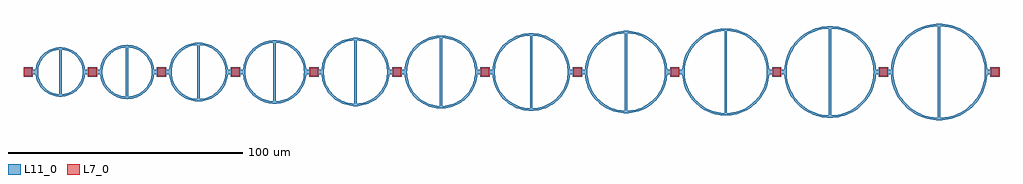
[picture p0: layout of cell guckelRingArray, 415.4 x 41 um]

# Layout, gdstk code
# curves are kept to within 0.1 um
import gdstk
lib = gdstk.Library(unit=1e-6, precision=1e-09)
def R(c, l, rs):  # rectangles x0, y0, x1, y1
    for r in rs: c.add(gdstk.rectangle(r[:2], r[2:], *l))
def P(c, l, *ps):  # polygons
    for p in ps: c.add(gdstk.Polygon(p, *l))
L7_0 = (7, 0)
L11_0 = (11, 0)

guckelringarray = lib.new_cell('guckelRingArray')
R(guckelringarray, L7_0, [(-15.5,-1.8,-11.9,1.8), (11.9,-1.8,15.5,1.8), (11.9,-1.8,15.5,1.8), (41.3,-1.8,44.9,1.8), (41.3,-1.8,44.9,1.8), (72.7,-1.8,76.3,1.8), (72.7,-1.8,76.3,1.8), (106.1,-1.8,109.7,1.8), (106.1,-1.8,109.7,1.8), (141.5,-1.8,145.1,1.8), (141.5,-1.8,145.1,1.8), (178.9,-1.8,182.5,1.8), (178.9,-1.8,182.5,1.8), (218.3,-1.8,221.9,1.8), (218.3,-1.8,221.9,1.8), (259.7,-1.8,263.3,1.8), (259.7,-1.8,263.3,1.8), (303.1,-1.8,306.7,1.8), (303.1,-1.8,306.7,1.8), (348.5,-1.8,352.1,1.8), (348.5,-1.8,352.1,1.8), (395.9,-1.8,399.5,1.8)])
P(guckelringarray, L11_0, [(0,-10.5),(-2.611,-10.17),(-4.503,-9.484),(1.191,-9.425),(2.936,-9.035),(4.577,-8.325),(6.056,-7.32),(7.32,-6.056),(8.325,-4.577),(9.202,-2.363),(9.481,-0.597),(9.425,1.191),(9.202,2.363),(8.596,4.045),(7.686,5.584),(6.925,6.503),(6.056,7.32),(4.577,8.325),(2.363,9.202),(0.5,9.484),(0.5,-9.484),(-0.5,-9.484),(-0.5,9.484),(-2.363,9.202),(-4.045,8.596),(-5.584,7.686),(-6.925,6.503),(-8.021,5.09),(-8.833,3.497),(-9.332,1.78),(-9.5,0),(-9.332,-1.78),(-8.833,-3.497),(-8.021,-5.09),(-6.925,-6.503),(-5.584,-7.686),(-4.045,-8.596),(-2.363,-9.202),(-0.5,-9.484),(-4.503,-9.484),(-6.693,-8.09),(-8.09,-6.693),(-9.201,-5.058),(-9.986,-3.245),(-10.447,-1),(-11.7,-1),(-11.7,-2),(-15.7,-2),(-15.7,2),(-11.7,2),(-11.7,1),(-10.447,1),(-10.17,2.611),(-9.501,4.471),(-8.495,6.172),(-7.188,7.654),(-5.626,8.865),(-3.865,9.763),(-1.968,10.314),(0,10.5),(1.968,10.314),(3.865,9.763),(5.626,8.865),(7.188,7.654),(8.495,6.172),(9.501,4.471),(10.17,2.611),(10.447,1),(11.7,1),(11.7,2),(15.7,2),(15.7,-2),(11.7,-2),(11.7,-1),(10.447,-1),(10.17,-2.611),(9.501,-4.471),(8.495,-6.172),(7.188,-7.654),(5.626,-8.865),(3.865,-9.763),(1.968,-10.314)],
  [(28.4,-11.5),(26.245,-11.296),(23.686,-10.484),(29.716,-10.417),(31.645,-9.986),(33.458,-9.201),(35.588,-7.654),(36.895,-6.172),(37.901,-4.471),(38.57,-2.611),(38.879,-0.659),(38.817,1.316),(38.386,3.245),(37.901,4.471),(36.895,6.172),(36.054,7.188),(34.572,8.495),(33.458,9.201),(31.011,10.17),(28.9,10.484),(28.9,-10.484),(27.9,-10.484),(27.9,10.484),(25.789,10.17),(23.929,9.501),(22.228,8.495),(20.746,7.188),(19.535,5.626),(18.637,3.865),(18.086,1.968),(17.9,0),(18.086,-1.968),(18.637,-3.865),(19.535,-5.626),(20.746,-7.188),(22.228,-8.495),(23.929,-9.501),(25.789,-10.17),(27.9,-10.484),(23.686,-10.484),(22.238,-9.71),(21.07,-8.861),(19.539,-7.33),(18.322,-5.54),(17.463,-3.554),(16.949,-1),(15.7,-1),(15.7,-2),(11.7,-2),(11.7,2),(15.7,2),(15.7,1),(16.949,1),(17.261,2.86),(17.994,4.896),(19.096,6.76),(20.528,8.383),(22.238,9.71),(24.167,10.692),(26.245,11.296),(28.4,11.5),(30.555,11.296),(32.633,10.692),(34.562,9.71),(36.272,8.383),(37.704,6.76),(38.806,4.896),(39.539,2.86),(39.851,1),(41.1,1),(41.1,2),(45.1,2),(45.1,-2),(41.1,-2),(41.1,-1),(39.851,-1),(39.539,-2.86),(38.806,-4.896),(37.704,-6.76),(36.272,-8.383),(34.562,-9.71),(32.633,-10.692),(30.555,-11.296)],
  [(58.8,-12.5),(56.458,-12.279),(53.88,-11.484),(60.241,-11.409),(62.354,-10.937),(64.34,-10.078),(66.13,-8.861),(68.104,-6.76),(69.206,-4.896),(69.939,-2.86),(70.277,-0.722),(70.277,0.722),(69.939,2.86),(69.492,4.233),(68.878,5.54),(67.661,7.33),(66.13,8.861),(64.962,9.71),(62.354,10.937),(60.955,11.296),(59.3,11.484),(59.3,-11.484),(58.3,-11.484),(58.3,11.484),(55.94,11.139),(53.904,10.406),(52.04,9.304),(50.417,7.872),(49.09,6.162),(48.108,4.233),(47.504,2.155),(47.3,0),(47.504,-2.155),(48.108,-4.233),(49.09,-6.162),(50.417,-7.872),(52.04,-9.304),(53.904,-10.406),(55.94,-11.139),(58.3,-11.484),(53.88,-11.484),(52.102,-10.554),(50.832,-9.631),(49.169,-7.968),(47.846,-6.022),(46.912,-3.863),(46.345,-1),(45.1,-1),(45.1,-2),(41.1,-2),(41.1,2),(45.1,2),(45.1,1),(46.345,1),(46.693,3.109),(47.49,5.322),(48.687,7.347),(50.243,9.112),(52.102,10.554),(54.198,11.622),(56.458,12.279),(58.8,12.5),(61.142,12.279),(63.402,11.622),(65.498,10.554),(67.357,9.112),(68.913,7.347),(70.11,5.322),(70.907,3.109),(71.255,1),(72.5,1),(72.5,2),(76.5,2),(76.5,-2),(72.5,-2),(72.5,-1),(71.255,-1),(70.907,-3.109),(70.11,-5.322),(68.913,-7.347),(67.357,-9.112),(65.498,-10.554),(63.402,-11.622),(61.142,-12.279)],
  [(91.2,-13.5),(88.67,-13.261),(86.074,-12.484),(92.767,-12.401),(95.063,-11.888),(97.222,-10.954),(99.757,-9.112),(101.313,-7.347),(102.51,-5.322),(103.307,-3.109),(103.675,-0.785),(103.675,0.785),(103.479,2.342),(102.822,4.602),(102.154,6.022),(100.831,7.968),(99.757,9.112),(97.898,10.554),(95.063,11.888),(93.542,12.279),(91.7,12.484),(91.7,-12.484),(90.7,-12.484),(90.7,12.484),(88.091,12.107),(85.878,11.31),(83.853,10.113),(82.088,8.557),(80.646,6.698),(79.578,4.602),(78.921,2.342),(78.7,0),(78.921,-2.342),(79.578,-4.602),(80.646,-6.698),(82.088,-8.557),(83.853,-10.113),(85.878,-11.31),(88.091,-12.107),(90.7,-12.484),(86.074,-12.484),(83.966,-11.398),(81.959,-9.841),(80.278,-7.935),(78.985,-5.748),(78.124,-3.357),(77.741,-1),(76.5,-1),(76.5,-2),(72.5,-2),(72.5,2),(76.5,2),(76.5,1),(77.741,1),(78.361,4.172),(79.37,6.504),(80.798,8.605),(82.595,10.402),(84.696,11.83),(86.23,12.552),(88.67,13.261),(91.2,13.5),(93.73,13.261),(96.17,12.552),(98.434,11.398),(100.441,9.841),(102.122,7.935),(103.415,5.748),(104.276,3.357),(104.659,1),(105.9,1),(105.9,2),(109.9,2),(109.9,-2),(105.9,-2),(105.9,-1),(104.659,-1),(104.039,-4.172),(103.03,-6.504),(101.602,-8.605),(99.805,-10.402),(97.704,-11.83),(96.17,-12.552),(93.73,-13.261)],
  [(125.6,-14.5),(122.883,-14.243),(120.269,-13.484),(127.292,-13.394),(129.772,-12.839),(132.104,-11.83),(134.205,-10.402),(135.441,-9.241),(136.522,-7.935),(137.815,-5.748),(138.676,-3.357),(138.994,-1.692),(139.073,0.848),(138.861,2.53),(138.152,4.97),(137.43,6.504),(136.002,8.605),(134.205,10.402),(132.834,11.398),(131.348,12.215),(129.772,12.839),(128.13,13.261),(126.1,13.484),(126.1,-13.484),(125.1,-13.484),(125.1,13.484),(122.243,13.076),(119.852,12.215),(117.665,10.922),(115.759,9.241),(114.202,7.234),(113.048,4.97),(112.339,2.53),(112.1,0),(112.339,-2.53),(113.048,-4.97),(114.202,-7.234),(115.759,-9.241),(117.665,-10.922),(119.852,-12.215),(122.243,-13.076),(125.1,-13.484),(120.262,-13.482),(117.831,-12.243),(115.674,-10.57),(113.869,-8.523),(112.48,-6.174),(111.556,-3.606),(111.137,-1),(109.9,-1),(109.9,-2),(105.9,-2),(105.9,2),(109.9,2),(109.9,1),(111.137,1),(111.357,2.717),(111.81,4.481),(112.894,6.985),(114.428,9.243),(116.357,11.172),(117.831,12.243),(120.262,13.482),(122.883,14.243),(125.6,14.5),(128.317,14.243),(130.938,13.482),(133.369,12.243),(135.526,10.57),(137.331,8.523),(138.72,6.174),(139.644,3.606),(140.063,1),(141.3,1),(141.3,2),(145.3,2),(145.3,-2),(141.3,-2),(141.3,-1),(140.063,-1),(139.843,-2.717),(139.39,-4.481),(138.306,-6.985),(136.772,-9.243),(134.843,-11.172),(133.369,-12.243),(130.938,-13.482),(128.317,-14.243)],
  [(162,-15.5),(159.096,-15.225),(156.496,-14.484),(163.817,-14.386),(166.481,-13.79),(168.985,-12.706),(171.243,-11.172),(172.57,-9.926),(173.731,-8.523),(175.12,-6.174),(176.044,-3.606),(176.386,-1.817),(176.471,0.91),(176.243,2.717),(175.482,5.338),(174.243,7.769),(173.172,9.243),(171.926,10.57),(169.769,12.243),(168.174,13.12),(166.481,13.79),(164.717,14.243),(162.5,14.484),(162.5,-14.484),(161.5,-14.484),(161.5,14.484),(158.394,14.044),(155.826,13.12),(153.477,11.731),(151.43,9.926),(149.757,7.769),(148.518,5.338),(147.757,2.717),(147.5,0),(147.757,-2.717),(148.518,-5.338),(149.757,-7.769),(151.43,-9.926),(153.477,-11.731),(155.826,-13.12),(158.394,-14.044),(161.5,-14.484),(156.496,-14.484),(153.695,-13.087),(151.39,-11.299),(149.46,-9.111),(147.975,-6.6),(146.987,-3.855),(146.533,-1),(145.3,-1),(145.3,-2),(141.3,-2),(141.3,2),(145.3,2),(145.3,1),(146.533,1),(146.775,2.904),(147.259,4.79),(148.417,7.467),(150.057,9.88),(152.12,11.943),(154.533,13.583),(156.294,14.412),(159.096,15.225),(162,15.5),(164.904,15.225),(167.706,14.412),(170.305,13.087),(172.61,11.299),(174.54,9.111),(176.025,6.6),(177.013,3.855),(177.467,1),(178.7,1),(178.7,2),(182.7,2),(182.7,-2),(178.7,-2),(178.7,-1),(177.467,-1),(177.225,-2.904),(176.741,-4.79),(175.583,-7.467),(173.943,-9.88),(171.88,-11.943),(169.467,-13.583),(167.706,-14.412),(164.904,-15.225)],
  [(200.4,-16.5),(197.308,-16.208),(194.723,-15.484),(202.343,-15.378),(205.19,-14.741),(207.867,-13.583),(210.28,-11.943),(211.699,-10.61),(212.94,-9.111),(214.425,-6.6),(215.413,-3.855),(215.778,-1.943),(215.869,0.973),(215.413,3.855),(214.812,5.706),(213.983,7.467),(212.343,9.88),(210.28,11.943),(208.705,13.087),(207,14.025),(205.19,14.741),(203.304,15.225),(200.9,15.484),(200.9,-15.484),(199.9,-15.484),(199.9,15.484),(196.545,15.013),(193.8,14.025),(191.289,12.54),(189.101,10.61),(187.313,8.305),(185.988,5.706),(185.175,2.904),(184.9,0),(185.175,-2.904),(185.988,-5.706),(187.313,-8.305),(189.101,-10.61),(191.289,-12.54),(193.8,-14.025),(196.545,-15.013),(199.9,-15.484),(194.723,-15.484),(191.559,-13.931),(189.105,-12.028),(187.051,-9.698),(185.47,-7.025),(184.418,-4.103),(183.931,-1),(182.7,-1),(182.7,-2),(178.7,-2),(178.7,2),(182.7,2),(182.7,1),(183.931,1),(184.418,4.103),(185.47,7.025),(187.051,9.698),(188.372,11.295),(189.883,12.713),(192.451,14.459),(194.326,15.341),(197.308,16.208),(200.4,16.5),(203.492,16.208),(206.474,15.341),(209.241,13.931),(211.695,12.028),(213.749,9.698),(215.33,7.025),(216.382,4.103),(216.869,1),(218.1,1),(218.1,2),(222.1,2),(222.1,-2),(218.1,-2),(218.1,-1),(216.869,-1),(216.382,-4.103),(215.33,-7.025),(213.749,-9.698),(212.428,-11.295),(210.917,-12.713),(208.349,-14.459),(206.474,-15.341),(203.492,-16.208)],
  [(240.8,-17.5),(237.521,-17.19),(234.95,-16.484),(242.868,-16.37),(245.899,-15.692),(248.749,-14.459),(251.317,-12.713),(253.513,-10.517),(255.259,-7.949),(256.492,-5.099),(257.008,-3.092),(257.3,0),(257.008,3.092),(256.492,5.099),(255.73,7.025),(254.149,9.698),(252.828,11.295),(250.498,13.349),(247.825,14.93),(245.899,15.692),(243.892,16.208),(241.3,16.484),(241.3,-16.484),(240.3,-16.484),(240.3,16.484),(238.732,16.37),(236.697,15.982),(233.775,14.93),(231.102,13.349),(228.772,11.295),(226.869,8.841),(225.459,6.074),(224.592,3.092),(224.3,0),(224.592,-3.092),(225.459,-6.074),(226.869,-8.841),(228.772,-11.295),(231.102,-13.349),(233.775,-14.93),(236.697,-15.982),(238.732,-16.37),(240.3,-16.484),(234.95,-16.484),(233.349,-15.834),(231.423,-14.776),(228.82,-12.757),(226.642,-10.286),(224.966,-7.451),(223.85,-4.352),(223.331,-1),(222.1,-1),(222.1,-2),(218.1,-2),(218.1,2),(222.1,2),(222.1,1),(223.331,1),(223.85,4.352),(224.966,7.451),(226.642,10.286),(228.043,11.98),(229.645,13.484),(231.423,14.776),(234.358,16.271),(237.521,17.19),(240.8,17.5),(244.079,17.19),(247.242,16.271),(250.177,14.776),(252.78,12.757),(254.958,10.286),(256.634,7.451),(257.75,4.352),(258.269,1),(259.5,1),(259.5,2),(263.5,2),(263.5,-2),(259.5,-2),(259.5,-1),(258.269,-1),(257.75,-4.352),(256.634,-7.451),(254.958,-10.286),(253.557,-11.98),(251.955,-13.484),(250.177,-14.776),(247.242,-16.271),(244.079,-17.19)],
  [(283.2,-18.5),(279.733,-18.172),(277.177,-17.484),(285.393,-17.362),(288.608,-16.643),(291.631,-15.335),(294.355,-13.484),(296.684,-11.155),(298.535,-8.431),(299.843,-5.408),(300.39,-3.279),(300.7,0),(300.39,3.279),(299.843,5.408),(298.535,8.431),(297.358,10.286),(295.957,11.98),(293.486,14.158),(291.631,15.335),(288.608,16.643),(286.479,17.19),(283.7,17.484),(283.7,-17.484),(282.7,-17.484),(282.7,17.484),(281.007,17.362),(278.848,16.95),(275.749,15.834),(272.914,14.158),(270.443,11.98),(268.424,9.377),(266.929,6.442),(266.01,3.279),(265.7,0),(266.01,-3.279),(266.929,-6.442),(268.424,-9.377),(270.443,-11.98),(272.914,-14.158),(275.749,-15.834),(278.848,-16.95),(281.007,-17.362),(282.7,-17.484),(277.177,-17.484),(275.323,-16.739),(273.287,-15.62),(270.536,-13.486),(268.233,-10.874),(266.461,-7.877),(265.281,-4.601),(264.731,-1),(263.5,-1),(263.5,-2),(259.5,-2),(259.5,2),(263.5,2),(263.5,1),(264.731,1),(265.281,4.601),(266.461,7.877),(267.58,9.913),(268.945,11.792),(271.408,14.254),(274.288,16.212),(277.483,17.595),(280.881,18.354),(283.2,18.5),(286.667,18.172),(290.01,17.201),(293.113,15.62),(295.864,13.486),(298.167,10.874),(299.939,7.877),(301.119,4.601),(301.669,1),(302.9,1),(302.9,2),(306.9,2),(306.9,-2),(302.9,-2),(302.9,-1),(301.669,-1),(301.119,-4.601),(299.939,-7.877),(298.167,-10.874),(296.686,-12.664),(294.992,-14.254),(292.112,-16.212),(288.917,-17.595),(285.519,-18.354)],
  [(327.6,-19.5),(323.946,-19.155),(321.404,-18.484),(328.1,-18.484),(329.919,-18.354),(333.317,-17.595),(336.512,-16.212),(339.392,-14.254),(341.854,-11.792),(343.812,-8.912),(345.195,-5.717),(345.954,-2.319),(346.1,0),(345.954,2.319),(345.195,5.717),(343.812,8.912),(342.567,10.874),(341.086,12.664),(338.474,14.967),(336.512,16.212),(333.317,17.595),(331.067,18.172),(328.1,18.484),(328.1,-18.484),(327.1,-18.484),(327.1,18.484),(325.281,18.354),(322.999,17.919),(319.723,16.739),(316.726,14.967),(314.114,12.664),(311.98,9.913),(310.399,6.81),(309.428,3.467),(309.1,0),(309.428,-3.467),(310.399,-6.81),(311.98,-9.913),(314.114,-12.664),(316.726,-14.967),(319.723,-16.739),(322.999,-17.919),(325.281,-18.354),(327.1,-18.484),(321.404,-18.484),(318.206,-17.088),(316.138,-15.776),(313.385,-13.349),(311.824,-11.462),(310.512,-9.394),(309.469,-7.178),(308.713,-4.849),(308.131,-1),(306.9,-1),(306.9,-2),(302.9,-2),(302.9,2),(306.9,2),(306.9,1),(308.131,1),(308.713,4.849),(309.956,8.303),(311.824,11.462),(313.385,13.349),(315.17,15.025),(318.206,17.088),(321.574,18.546),(323.946,19.155),(327.6,19.5),(331.254,19.155),(334.778,18.131),(338.049,16.464),(340.949,14.215),(343.376,11.462),(345.244,8.303),(346.487,4.849),(347.069,1),(348.3,1),(348.3,2),(352.3,2),(352.3,-2),(348.3,-2),(348.3,-1),(347.069,-1),(346.487,-4.849),(345.244,-8.303),(343.376,-11.462),(341.815,-13.349),(340.03,-15.025),(336.994,-17.088),(333.626,-18.546),(331.254,-19.155)],
  [(374,-20.5),(370.159,-20.137),(367.631,-19.484),(374.5,-19.484),(376.444,-19.346),(380.026,-18.546),(383.394,-17.088),(386.43,-15.025),(389.025,-12.43),(391.088,-9.394),(392.546,-6.026),(393.155,-3.654),(393.5,0),(393.155,3.654),(392.546,6.026),(391.644,8.303),(389.776,11.462),(388.215,13.349),(385.462,15.776),(382.303,17.644),(380.026,18.546),(377.654,19.155),(374.5,19.484),(374.5,-19.484),(373.5,-19.484),(373.5,19.484),(371.556,19.346),(369.151,18.887),(365.697,17.644),(362.538,15.776),(359.785,13.349),(357.536,10.449),(355.869,7.178),(354.845,3.654),(354.5,0),(354.845,-3.654),(355.869,-7.178),(357.536,-10.449),(359.785,-13.349),(362.538,-15.776),(365.697,-17.644),(369.151,-18.887),(371.556,-19.346),(373.5,-19.484),(367.631,-19.484),(364.124,-17.964),(361.95,-16.585),(359.967,-14.944),(358.204,-13.067),(356.036,-9.876),(354.94,-7.547),(354.144,-5.098),(353.662,-2.569),(353.531,-1),(352.3,-1),(352.3,-2),(348.3,-2),(348.3,2),(352.3,2),(352.3,1),(353.531,1),(353.662,2.569),(354.144,5.098),(355.451,8.728),(357.415,12.05),(359.056,14.033),(360.933,15.796),(364.124,17.964),(367.665,19.497),(370.159,20.137),(374,20.5),(377.841,20.137),(381.547,19.06),(384.984,17.309),(388.033,14.944),(390.585,12.05),(392.549,8.728),(393.856,5.098),(394.338,2.569),(394.469,1),(395.7,1),(395.7,2),(399.7,2),(399.7,-2),(395.7,-2),(395.7,-1),(394.469,-1),(394.338,-2.569),(393.856,-5.098),(392.549,-8.728),(390.585,-12.05),(388.944,-14.033),(387.067,-15.796),(383.876,-17.964),(380.335,-19.497),(377.841,-20.137)])

lib.write_gds('guckelRingArray.gds')
